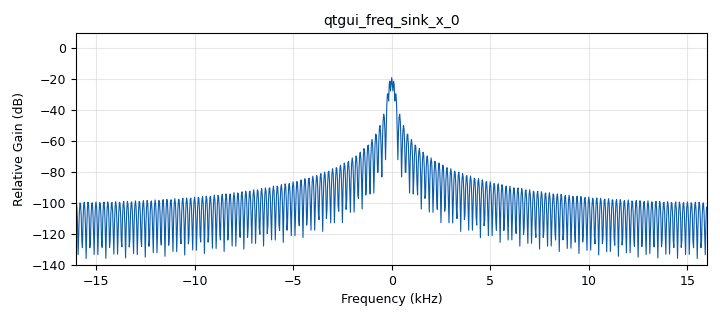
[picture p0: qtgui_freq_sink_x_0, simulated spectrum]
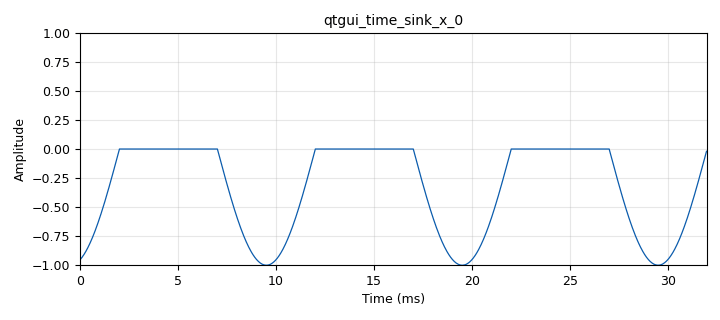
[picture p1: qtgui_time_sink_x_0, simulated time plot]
options:
  parameters:
    generate_options: qt_gui
    id: Lab_comu_I
    output_language: python
    title: Segundo flujograma
  states: {}

blocks:
- name: amplitude
  id: variable_qtgui_range
  parameters:
    start: '0'
    step: '0.5'
    stop: '5'
    value: '1'
  states: {}
- name: amplitude_0
  id: variable_qtgui_range
  parameters:
    start: '0'
    step: '0.5'
    stop: '5'
    value: '1'
  states: {}
- name: frequency
  id: variable_qtgui_range
  parameters:
    start: '-samp_rate/2'
    step: '100'
    stop: samp_rate/2
    value: '100'
  states: {}
- name: frequency_0
  id: variable_qtgui_range
  parameters:
    start: '-samp_rate/2'
    step: '100'
    stop: samp_rate/2
    value: '100'
  states: {}
- name: samp_rate
  id: variable
  parameters:
    value: '32000'
  states: {}
- name: samp_rate_0
  id: variable
  parameters:
    value: '32000'
  states: {}
- name: analog_sig_source_x_0
  id: analog_sig_source_x
  parameters:
    amp: amplitude
    freq: frequency
    offset: '0'
    phase: '0'
    samp_rate: samp_rate
    type: float
    waveform: analog.GR_SQR_WAVE
  states: {}
- name: analog_sig_source_x_0_0
  id: analog_sig_source_x
  parameters:
    amp: amplitude_0
    freq: frequency_0
    offset: '0'
    phase: '0'
    samp_rate: samp_rate_0
    type: float
    waveform: analog.GR_SIN_WAVE
  states: {}
- name: blocks_multiply_xx_0
  id: blocks_multiply_xx
  parameters:
    type: float
  states: {}
- name: blocks_throttle_0
  id: blocks_throttle
  parameters:
    samples_per_second: samp_rate
    type: float
  states: {}
- name: qtgui_freq_sink_x_0
  id: qtgui_freq_sink_x
  parameters:
    bw: samp_rate
    fc: '0'
    fftsize: '1024'
    type: float
  states: {}
- name: qtgui_time_sink_x_0
  id: qtgui_time_sink_x
  parameters:
    size: '1024'
    srate: samp_rate
    type: float
  states: {}

connections:
- [analog_sig_source_x_0, '0', blocks_multiply_xx_0, '0']
- [analog_sig_source_x_0_0, '0', blocks_multiply_xx_0, '1']
- [blocks_multiply_xx_0, '0', blocks_throttle_0, '0']
- [blocks_throttle_0, '0', qtgui_freq_sink_x_0, '0']
- [blocks_throttle_0, '0', qtgui_time_sink_x_0, '0']

metadata:
  file_format: 1
  grc_version: 3.9.8.0
